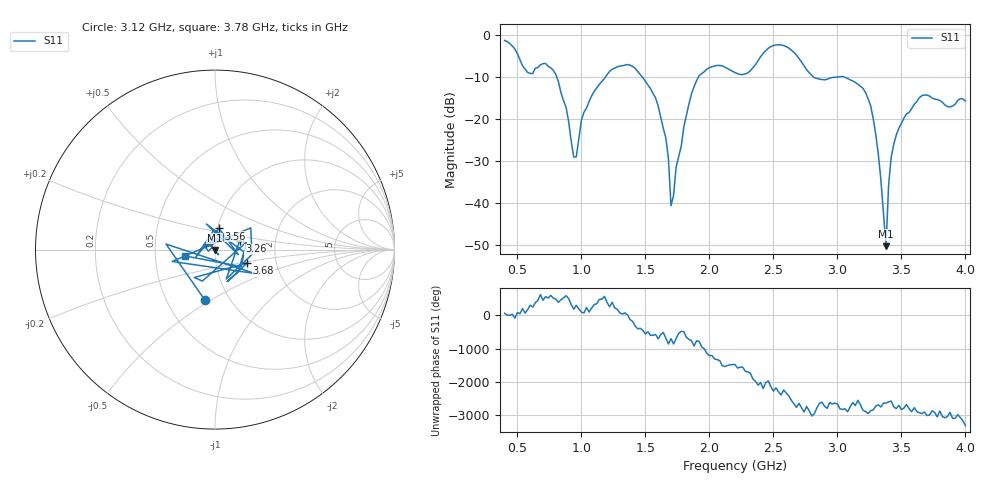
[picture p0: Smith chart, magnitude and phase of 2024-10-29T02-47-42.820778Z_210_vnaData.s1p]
!Created with skrf (http://scikit-rf.org).
# Hz S RI R 50.0
!freq ReS11 ImS11
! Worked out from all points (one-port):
!   181 points, 400 MHz to 4 GHz, reference 50 ohm
!   lowest |S11| = -50.3 dB at 3.38 GHz (marker M1), VSWR 1.01, Z = 49.9 - j0.277 ohm
!   |S11| at or under -10 dB: 808 MHz to 1.186 GHz (378.4 MHz wide, 37.9 % of centre); 1.477 GHz to 1.913 GHz (436.2 MHz wide, 25.7 % of centre); 3.058 GHz to end of sweep (the widest 3 of 4)
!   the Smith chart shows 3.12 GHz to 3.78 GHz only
!   S11 on the Smith chart (normalised r, x): 3.12 GHz: 0.77, -0.47; 3.26 GHz: 1.31, +0.13; 3.56 GHz: 1.02, +0.24; 3.68 GHz: 1.42, -0.22; 3.78 GHz: 0.71, -0.05
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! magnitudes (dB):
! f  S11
! 400 MHz  -1.2
! 580 MHz  -8.8
! 780 MHz  -8.3
! 860 MHz  -15.6
! 960 MHz  -29.0
! 1 GHz  -20.3
! 1.08 GHz  -14.4
! 1.3 GHz  -7.3
! 1.58 GHz  -15.0
! 1.66 GHz  -24.5
! 1.7 GHz  -40.7
! 1.76 GHz  -28.9
! 1.92 GHz  -9.6
! 2.2 GHz  -8.9
! 2.5 GHz  -2.4
! 2.66 GHz  -4.0
! 2.82 GHz  -10.1
! 3.1 GHz  -10.6
! 3.12 GHz  -10.9
! 3.26 GHz  -16.8
! 3.32 GHz  -28.4
! 3.38 GHz  -50.3
! 3.4 GHz  -35.8
! 3.42 GHz  -29.1
! 3.56 GHz  -18.4
! 3.68 GHz  -14.2
! 3.78 GHz  -15.3
! 4 GHz  -15.6
